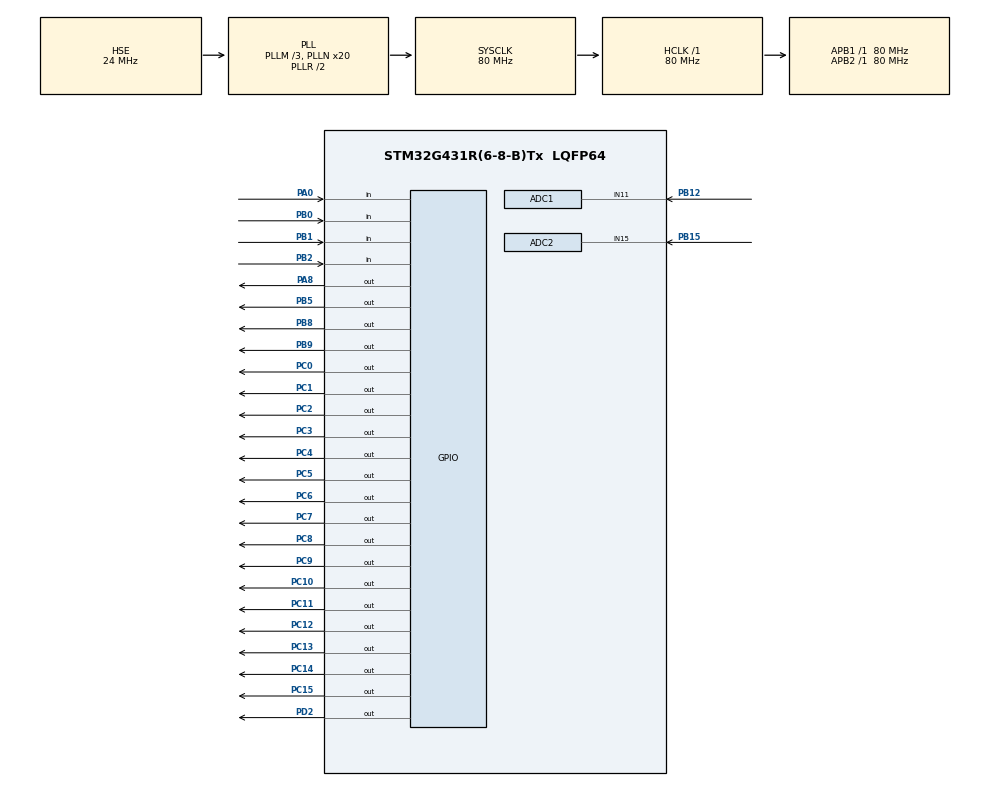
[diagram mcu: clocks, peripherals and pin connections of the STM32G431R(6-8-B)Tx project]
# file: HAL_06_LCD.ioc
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ADC1.Channel-0\#ChannelRegularConversion=ADC_CHANNEL_11
ADC1.NbrOfConversionFlag=1
ADC1.OffsetNumber-0\#ChannelRegularConversion=ADC_OFFSET_NONE
ADC1.Rank-0\#ChannelRegularConversion=1
ADC1.SamplingTime-0\#ChannelRegularConversion=ADC_SAMPLETIME_2CYCLES_5
ADC1.master=1
ADC2.Channel-0\#ChannelRegularConversion=ADC_CHANNEL_15
ADC2.NbrOfConversionFlag=1
ADC2.OffsetNumber-0\#ChannelRegularConversion=ADC_OFFSET_NONE
ADC2.Rank-0\#ChannelRegularConversion=1
ADC2.SamplingTime-0\#ChannelRegularConversion=ADC_SAMPLETIME_2CYCLES_5
Mcu.Family=STM32G4
Mcu.Name=STM32G431R(6-8-B)Tx
Mcu.Package=LQFP64
NVIC.PriorityGroup=NVIC_PRIORITYGROUP_4
NVIC.TIM1_BRK_TIM15_IRQn=true\:0\:0\:false\:false\:true\:true\:true\:true
PA0.Signal=GPIO_Input
PA13.Mode=Serial_Wire
PA13.Signal=SYS_JTMS-SWDIO
PA14.Mode=Serial_Wire
PA14.Signal=SYS_JTCK-SWCLK
PA8.Signal=GPIO_Output
PB0.Signal=GPIO_Input
PB1.Signal=GPIO_Input
PB12.Mode=IN11-Single-Ended
PB12.Signal=ADC1_IN11
PB15.Mode=IN15-Single-Ended
PB15.Signal=ADC2_IN15
PB2.Signal=GPIO_Input
PB5.Signal=GPIO_Output
PB8-BOOT0.Signal=GPIO_Output
PB9.Signal=GPIO_Output
PC0.Signal=GPIO_Output
PC1.Signal=GPIO_Output
PC10.Signal=GPIO_Output
PC11.Signal=GPIO_Output
PC12.Signal=GPIO_Output
PC13.Signal=GPIO_Output
PC14-OSC32_IN.Signal=GPIO_Output
PC15-OSC32_OUT.Signal=GPIO_Output
PC2.Signal=GPIO_Output
PC3.Signal=GPIO_Output
PC4.Signal=GPIO_Output
PC5.Signal=GPIO_Output
PC6.Signal=GPIO_Output
PC7.Signal=GPIO_Output
PC8.Signal=GPIO_Output
PC9.Signal=GPIO_Output
PD2.Signal=GPIO_Output
PF0-OSC_IN.Mode=HSE-External-Oscillator
PF0-OSC_IN.Signal=RCC_OSC_IN
PF1-OSC_OUT.Mode=HSE-External-Oscillator
PF1-OSC_OUT.Signal=RCC_OSC_OUT
ProjectManager.HeapSize=0x200
ProjectManager.StackSize=0x400
ProjectManager.TargetToolchain=MDK-ARM V5.27
RCC.ADC12Freq_Value=80000000
RCC.AHBFreq_Value=80000000
RCC.APB1Freq_Value=80000000
RCC.APB1TimFreq_Value=80000000
RCC.APB2Freq_Value=80000000
RCC.APB2TimFreq_Value=80000000
RCC.CortexFreq_Value=80000000
RCC.EXTERNAL_CLOCK_VALUE=12288000
RCC.HCLKFreq_Value=80000000
RCC.HSE_VALUE=24000000
RCC.HSI48_VALUE=48000000
RCC.HSI_VALUE=16000000
RCC.LSE_VALUE=32768
RCC.PLLM=RCC_PLLM_DIV3
RCC.PLLN=20
RCC.PLLSourceVirtual=RCC_PLLSOURCE_HSE
RCC.SYSCLKFreq_VALUE=80000000
RCC.SYSCLKSource=RCC_SYSCLKSOURCE_PLLCLK
RCC.USBFreq_Value=80000000
RCC.VCOOutputFreq_Value=160000000
TIM15.AutoReloadPreload=TIM_AUTORELOAD_PRELOAD_ENABLE
TIM15.PeriodNoDither=1000-1
TIM15.Prescaler=80-1
VP_SYS_VS_DBSignals.Mode=DisableDeadBatterySignals
VP_TIM15_VS_ClockSourceINT.Mode=Internal
board=custom

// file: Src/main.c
/* USER CODE BEGIN Header */
/**
  ******************************************************************************
  * @file           : main.c
  * @brief          : Main program body
  ******************************************************************************
  * @attention
  *
  * <h2><center>&copy; Copyright (c) 2021 STMicroelectronics.
  * All rights reserved.</center></h2>
  *
  * This software component is licensed by ST under BSD 3-Clause license,
  * the "License"; You may not use this file except in compliance with the
  * License. You may obtain a copy of the License at:
  *                        opensource.org/licenses/BSD-3-Clause
  *
  ******************************************************************************
  */
/* USER CODE END Header */
#include "main.h"
#include "adc.h"
#include "tim.h"
#include "gpio.h"

/* USER CODE BEGIN Includes */
#include "stdio.h"
#include "string.h"
/* USER CODE END Includes */

/* USER CODE BEGIN PTD */
struct KEY{
	_Bool key_sta;
	_Bool single_flag;

	int key_judge;
	int key_count;
}key[4]={0,0,0,0};

struct STATUS{
	double max_limit;
	double min_limit;
}volt={2.4,1.2};
/* USER CODE END PTD */

/* USER CODE BEGIN PD */
int setting_tranform=0;

int high_led_number=1;
int low_led_number=2;
unsigned char  show_led_addr=0x00;
int led_time=0;
_Bool time_flag=0;

_Bool swtich_led_flag=1;
_Bool swtich_lcd_flag=0;
/* USER CODE END PD */

/* USER CODE BEGIN PM */
char lcd_text[30];
/* USER CODE END PM */

/* USER CODE BEGIN PV */
double adc_value=0.0f;
double last_adc_value=0.0f;
/* USER CODE END PV */

void SystemClock_Config(void);

/* USER CODE BEGIN 0 */
void adc_get(){
	unsigned int value=0;
	HAL_ADC_Start(&hadc2);
	HAL_ADC_PollForConversion(&hadc2,100);
	if(HAL_IS_BIT_SET(HAL_ADC_GetState(&hadc2),HAL_ADC_STATE_REG_EOC))
		value=HAL_ADC_GetValue(&hadc2);
	adc_value=value*3.3/4096;
	adc_value=0.7*adc_value + 0.3*last_adc_value;
	last_adc_value=adc_value;
}

void led_display(unsigned char pled,GPIO_PinState PinState){
	HAL_GPIO_WritePin(GPIOD, GPIO_PIN_2, GPIO_PIN_SET);

	HAL_GPIO_WritePin(GPIOC, GPIO_PIN_All, GPIO_PIN_SET);
	HAL_GPIO_WritePin(GPIOC, pled<<8, PinState);

	HAL_GPIO_WritePin(GPIOD, GPIO_PIN_2, GPIO_PIN_RESET);
}

void led_proc(){
		if(adc_value<volt.min_limit)
		{
			time_flag=1;
			if(swtich_led_flag==1)
			{
			show_led_addr=0x01<<(low_led_number-1);
				swtich_led_flag=0;
			}

			if(led_time<=200)
				led_display(show_led_addr,GPIO_PIN_RESET);
			else if(led_time<=400&&led_time>200)
				led_display(show_led_addr,GPIO_PIN_SET);
			else if(led_time>400)
				led_time=0;

		}
		else if(adc_value>volt.max_limit)
		{
			time_flag=1;
			if(swtich_led_flag==1)
			{
				show_led_addr=0x01<<(high_led_number-1);
				swtich_led_flag=0;
			}

			if(led_time<=200)
				led_display(show_led_addr,GPIO_PIN_RESET);
			else if(led_time<=400&&led_time>200)
				led_display(show_led_addr,GPIO_PIN_SET);
			else if(led_time>400)
				led_time=0;
		}
		else
		{
			time_flag=0;
			swtich_led_flag=1;
			HAL_GPIO_WritePin(GPIOD, GPIO_PIN_2, GPIO_PIN_SET);
			HAL_GPIO_WritePin(GPIOC, GPIO_PIN_All, GPIO_PIN_SET);
			HAL_GPIO_WritePin(GPIOD, GPIO_PIN_2, GPIO_PIN_RESET);
		}

}

void key_proc(){
		///////////B1
		if(key[0].single_flag==1)
		{
			key[0].key_count++;
			key[0].single_flag=0;
		}

		/////////B2
		else if(key[1].single_flag==1&&key[0].key_count%2!=0)
		{
			if(setting_tranform>=3)
				setting_tranform=0;
			else
				setting_tranform++;
			key[1].single_flag=0;
		}
		else if(key[1].single_flag==1)
		{
			key[1].single_flag=0;
		}

		///////B3 加
		else if(key[2].single_flag==1&&key[0].key_count%2!=0)
		{
			switch(setting_tranform)
			{
				case 0:
				{
					volt.max_limit+=0.3;
					if(volt.max_limit>=3.3)
						volt.max_limit=3.3;
				}break;
				case 1:
				{
					volt.min_limit+=0.3;
					if(volt.min_limit>=volt.max_limit)
						volt.min_limit=volt.max_limit-0.3;
				}break;

				case 2:
				{
					high_led_number++;
					if(high_led_number==low_led_number&&low_led_number!=8)
						high_led_number++;
					else if(high_led_number==low_led_number&&low_led_number==8)
						high_led_number=7;

					if(high_led_number>=8)
						high_led_number=8;

					swtich_led_flag=1;
				}break;
				case 3:
				{
					low_led_number++;
					if(high_led_number==low_led_number&&high_led_number!=8)
						low_led_number++;
					else if(high_led_number==low_led_number&&high_led_number==8)
						low_led_number=7;

				 if(low_led_number>=8)
						low_led_number=8;

				 swtich_led_flag=1;
				}break;
			}
			key[2].single_flag=0;
		}
		else if(key[2].single_flag==1)
		{
			key[2].single_flag=0;
		}

		//////B4 减
		else if(key[3].single_flag==1&&key[0].key_count%2!=0)
		{
			switch(setting_tranform)
			{
				case 0:
				{
						volt.max_limit-=0.3;
						if(volt.max_limit<=volt.min_limit)
							volt.max_limit=volt.min_limit+0.3;
				}break;
				case 1:
				{
						volt.min_limit-=0.3;
						if(volt.min_limit<=0)
							volt.min_limit=0;
				}break;

				case 2:
				{
					high_led_number--;
					if(high_led_number==low_led_number&&low_led_number!=1)
						high_led_number--;
					else if(high_led_number==low_led_number&&low_led_number==1)
						high_led_number=2;

					if(high_led_number<=1)
						high_led_number=1;

					swtich_led_flag=1;
				}break;
				case 3:
				{
					low_led_number--;
					if(high_led_number==low_led_number&&high_led_number!=1)
						low_led_number--;
					else if(high_led_number==low_led_number&&high_led_number==1)
						low_led_number=2;

					if(low_led_number<=1)
							low_led_number=1;

					swtich_led_flag=1;
				}break;
			}
			key[3].single_flag=0;
		}
		else if(key[3].single_flag==1)
		{
			key[3].single_flag=0;
		}

}
void lcd_dispaly(){
	if(key[0].key_count%2==0)
	{
		if(swtich_lcd_flag==0)
		{
			LCD_Clear(White);
			swtich_lcd_flag=1;
		}
		LCD_SetBackColor(White);
		sprintf(lcd_text,"       Main             ");
		LCD_DisplayStringLine(Line1,(unsigned char *)lcd_text);

		LCD_SetBackColor(White);
		sprintf(lcd_text,"  Volt:%.2fV             ",adc_value);
		LCD_DisplayStringLine(Line3,(unsigned char *)lcd_text);

		if(adc_value<volt.min_limit)
		{
			LCD_SetBackColor(White);
			sprintf(lcd_text,"  Status:Lower             ");
			LCD_DisplayStringLine(Line4,(unsigned char *)lcd_text);
		}
		else if(adc_value>volt.max_limit)
		{
			LCD_SetBackColor(White);
			sprintf(lcd_text,"  Status:Upper             ");
			LCD_DisplayStringLine(Line4,(unsigned char *)lcd_text);
		}
		else
		{
			LCD_SetBackColor(White);
			sprintf(lcd_text,"  Status:Normal             ");
			LCD_DisplayStringLine(Line4,(unsigned char *)lcd_text);
		}

		LCD_SetBackColor(White);
		sprintf(lcd_text,"min:%.2f,max:%.2f         ",volt.min_limit,volt.max_limit);
		LCD_DisplayStringLine(Line6,(unsigned char *)lcd_text);

	}
	else
	{
		if(swtich_lcd_flag==1)
		{
			LCD_Clear(White);
			swtich_lcd_flag=0;
		}

		LCD_SetBackColor(White);
		sprintf(lcd_text,"       Setting             ");
		LCD_DisplayStringLine(Line1,(unsigned char *)lcd_text);

		switch(setting_tranform)
		{
			case 0:
			{
				LCD_SetBackColor(Green);
				sprintf(lcd_text,"  Max Volt:%.2fV             ",volt.max_limit);
				LCD_DisplayStringLine(Line2,(unsigned char *)lcd_text);
				LCD_SetBackColor(White);
				sprintf(lcd_text,"  Min Volt:%.2fV             ",volt.min_limit);
				LCD_DisplayStringLine(Line3,(unsigned char *)lcd_text);
				LCD_SetBackColor(White);
				sprintf(lcd_text,"  Upper:LD%d             ",high_led_number);
				LCD_DisplayStringLine(Line4,(unsigned char *)lcd_text);
				LCD_SetBackColor(White);
				sprintf(lcd_text,"  Lower:LD%d             ",low_led_number);
				LCD_DisplayStringLine(Line5,(unsigned char *)lcd_text);
			}break;
			case 1:
			{
				LCD_SetBackColor(White);
				sprintf(lcd_text,"  Max Volt:%.2fV             ",volt.max_limit);
				LCD_DisplayStringLine(Line2,(unsigned char *)lcd_text);
				LCD_SetBackColor(Green);
				sprintf(lcd_text,"  Min Volt:%.2fV             ",volt.min_limit);
				LCD_DisplayStringLine(Line3,(unsigned char *)lcd_text);
				LCD_SetBackColor(White);
				sprintf(lcd_text,"  Upper:LD%d             ",high_led_number);
				LCD_DisplayStringLine(Line4,(unsigned char *)lcd_text);
				LCD_SetBackColor(White);
				sprintf(lcd_text,"  Lower:LD%d             ",low_led_number);
				LCD_DisplayStringLine(Line5,(unsigned char *)lcd_text);
			}break;
			case 2:
			{
				LCD_SetBackColor(White);
				sprintf(lcd_text,"  Max Volt:%.2fV             ",volt.max_limit);
				LCD_DisplayStringLine(Line2,(unsigned char *)lcd_text);
				LCD_SetBackColor(White);
				sprintf(lcd_text,"  Min Volt:%.2fV             ",volt.min_limit);
				LCD_DisplayStringLine(Line3,(unsigned char *)lcd_text);
				LCD_SetBackColor(Green);
				sprintf(lcd_text,"  Upper:LD%d             ",high_led_number);
				LCD_DisplayStringLine(Line4,(unsigned char *)lcd_text);
				LCD_SetBackColor(White);
				sprintf(lcd_text,"  Lower:LD%d             ",low_led_number);
				LCD_DisplayStringLine(Line5,(unsigned char *)lcd_text);
			}break;
			case 3:
			{
				LCD_SetBackColor(White);
				sprintf(lcd_text,"  Max Volt:%.2fV             ",volt.max_limit);
				LCD_DisplayStringLine(Line2,(unsigned char *)lcd_text);
				LCD_SetBackColor(White);
				sprintf(lcd_text,"  Min Volt:%.2fV             ",volt.min_limit);
				LCD_DisplayStringLine(Line3,(unsigned char *)lcd_text);
				LCD_SetBackColor(White);
				sprintf(lcd_text,"  Upper:LD%d             ",high_led_number);
				LCD_DisplayStringLine(Line4,(unsigned char *)lcd_text);
				LCD_SetBackColor(Green);
				sprintf(lcd_text,"  Lower:LD%d             ",low_led_number);
				LCD_DisplayStringLine(Line5,(unsigned char *)lcd_text);
			}break;
		}

	}

}
/* USER CODE END 0 */

int main(void)
{

  /* MCU Configuration--------------------------------------------------------*/

  /* Reset of all peripherals, Initializes the Flash interface and the Systick. */
  HAL_Init();

  /* Configure the system clock */
  SystemClock_Config();

  /* Initialize all configured peripherals */
  MX_GPIO_Init();
  MX_ADC1_Init();
  MX_ADC2_Init();
  MX_TIM15_Init();
  /* USER CODE BEGIN 2 */

	HAL_TIM_Base_Start_IT(&htim15);
	LCD_Init();

	HAL_GPIO_WritePin(GPIOD, GPIO_PIN_2, GPIO_PIN_SET);
	HAL_GPIO_WritePin(GPIOC, GPIO_PIN_All, GPIO_PIN_SET);
	HAL_GPIO_WritePin(GPIOD, GPIO_PIN_2, GPIO_PIN_RESET);
  /* USER CODE END 2 */

  /* Infinite loop */
  /* USER CODE BEGIN WHILE */

	LCD_Clear(White);
	LCD_SetBackColor(White);
	LCD_SetTextColor(Blue);

  while (1)
  {

    /* USER CODE END WHILE */

    /* USER CODE BEGIN 3 */
		adc_get();
		key_proc();
		led_proc();
		lcd_dispaly();
  }
  /* USER CODE END 3 */
}

void SystemClock_Config(void)
{
  RCC_OscInitTypeDef RCC_OscInitStruct = {0};
  RCC_ClkInitTypeDef RCC_ClkInitStruct = {0};

  /** Configure the main internal regulator output voltage
  */
  HAL_PWREx_ControlVoltageScaling(PWR_REGULATOR_VOLTAGE_SCALE1);

  /** Initializes the RCC Oscillators according to the specified parameters
  * in the RCC_OscInitTypeDef structure.
  */
  RCC_OscInitStruct.OscillatorType = RCC_OSCILLATORTYPE_HSE;
  RCC_OscInitStruct.HSEState = RCC_HSE_ON;
  RCC_OscInitStruct.PLL.PLLState = RCC_PLL_ON;
  RCC_OscInitStruct.PLL.PLLSource = RCC_PLLSOURCE_HSE;
  RCC_OscInitStruct.PLL.PLLM = RCC_PLLM_DIV3;
  RCC_OscInitStruct.PLL.PLLN = 20;
  RCC_OscInitStruct.PLL.PLLP = RCC_PLLP_DIV2;
  RCC_OscInitStruct.PLL.PLLQ = RCC_PLLQ_DIV2;
  RCC_OscInitStruct.PLL.PLLR = RCC_PLLR_DIV2;
  if (HAL_RCC_OscConfig(&RCC_OscInitStruct) != HAL_OK)
  {
    Error_Handler();
  }

  /** Initializes the CPU, AHB and APB buses clocks
  */
  RCC_ClkInitStruct.ClockType = RCC_CLOCKTYPE_HCLK|RCC_CLOCKTYPE_SYSCLK
                              |RCC_CLOCKTYPE_PCLK1|RCC_CLOCKTYPE_PCLK2;
  RCC_ClkInitStruct.SYSCLKSource = RCC_SYSCLKSOURCE_PLLCLK;
  RCC_ClkInitStruct.AHBCLKDivider = RCC_SYSCLK_DIV1;
  RCC_ClkInitStruct.APB1CLKDivider = RCC_HCLK_DIV1;
  RCC_ClkInitStruct.APB2CLKDivider = RCC_HCLK_DIV1;

  if (HAL_RCC_ClockConfig(&RCC_ClkInitStruct, FLASH_LATENCY_2) != HAL_OK)
  {
    Error_Handler();
  }
}

/* USER CODE BEGIN 4 */
int key_time=0;
void HAL_TIM_PeriodElapsedCallback(TIM_HandleTypeDef *htim){
	if(htim->Instance==TIM15)
	{
		if(time_flag==1)
			led_time++;
		else
			led_time=0;

		key[0].key_sta=HAL_GPIO_ReadPin(GPIOB,GPIO_PIN_0);
		key[1].key_sta=HAL_GPIO_ReadPin(GPIOB,GPIO_PIN_1);
		key[2].key_sta=HAL_GPIO_ReadPin(GPIOB,GPIO_PIN_2);
		key[3].key_sta=HAL_GPIO_ReadPin(GPIOA,GPIO_PIN_0);

		if(key_time>=65)
		{
			for(int i=0;i<4;i++)
			{
				switch(key[i].key_judge)
				{
					case 0:
					{
						if(key[i].key_sta==0)
							key[i].key_judge=1;
					}break;
					case 1:
					{
						if(key[i].key_sta==0)
							key[i].single_flag=1;
						else
							key[i].key_judge=0;
					}break;
				}
			}
			key_time=0;
		}
		else
			key_time++;
	}

}
/* USER CODE END 4 */

void Error_Handler(void)
{
}
